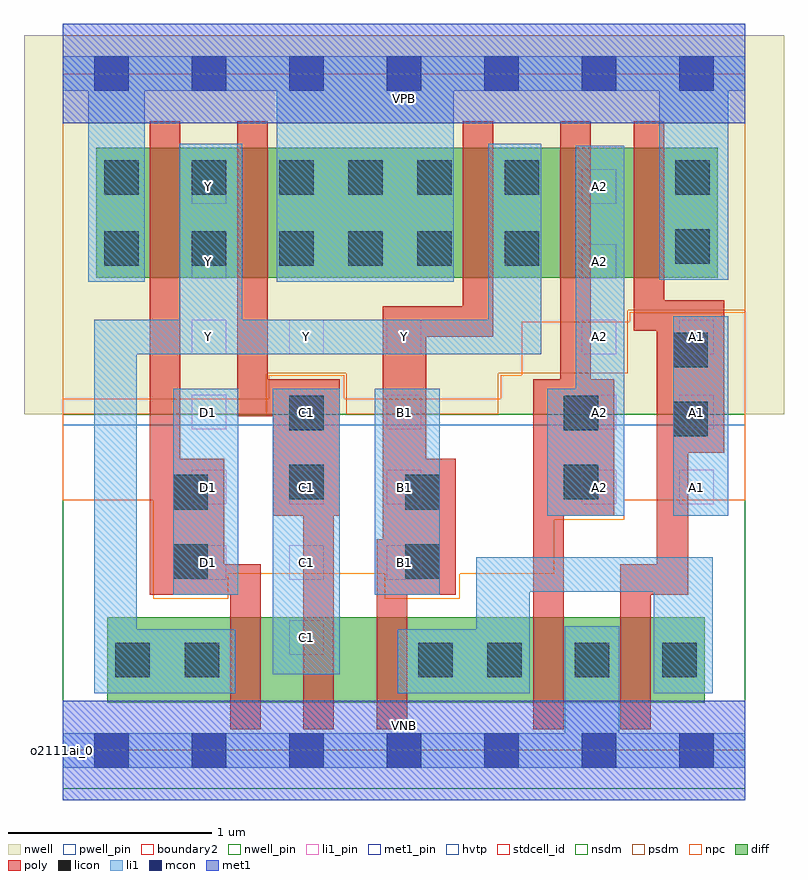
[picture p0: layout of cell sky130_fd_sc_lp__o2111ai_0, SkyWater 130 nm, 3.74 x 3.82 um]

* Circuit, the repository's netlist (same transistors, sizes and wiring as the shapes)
* Copyright 2020 The SkyWater PDK Authors
*
* Licensed under the Apache License, Version 2.0 (the "License");
* you may not use this file except in compliance with the License.
* You may obtain a copy of the License at
*
*     https://www.apache.org/licenses/LICENSE-2.0
*
* Unless required by applicable law or agreed to in writing, software
* distributed under the License is distributed on an "AS IS" BASIS,
* WITHOUT WARRANTIES OR CONDITIONS OF ANY KIND, either express or implied.
* See the License for the specific language governing permissions and
* limitations under the License.
*
* SPDX-License-Identifier: Apache-2.0

.SUBCKT sky130_fd_sc_lp__o2111ai_0 A1 A2 B1 C1 D1 VGND VNB VPB VPWR Y
*.PININFO A1:I A2:I B1:I C1:I D1:I VGND:I VNB:I VPB:I VPWR:I Y:O
MMPA0 VPWR A1 sndA1 VPB sky130_fd_pr__pfet_01v8_hvt m=1 w=0.64U l=0.15U mult=1
+ sa=0.265 sb=0.265 sd=0.28 area=0.063 perim=1.14
MMPA1 sndA1 A2 Y VPB sky130_fd_pr__pfet_01v8_hvt m=1 w=0.64U l=0.15U mult=1 sa=0.265
+ sb=0.265 sd=0.28 area=0.063 perim=1.14
MMPB0 VPWR B1 Y VPB sky130_fd_pr__pfet_01v8_hvt m=1 w=0.64U l=0.15U mult=1 sa=0.265
+ sb=0.265 sd=0.28 area=0.063 perim=1.14
MMPC0 VPWR C1 Y VPB sky130_fd_pr__pfet_01v8_hvt m=1 w=0.64U l=0.15U mult=1 sa=0.265
+ sb=0.265 sd=0.28 area=0.063 perim=1.14
MMPD0 VPWR D1 Y VPB sky130_fd_pr__pfet_01v8_hvt m=1 w=0.64U l=0.15U mult=1 sa=0.265
+ sb=0.265 sd=0.28 area=0.063 perim=1.14
MMNA0 pndA A1 VGND VNB sky130_fd_pr__nfet_01v8 m=1 w=0.42U l=0.15U mult=1 sa=0.265
+ sb=0.265 sd=0.28 area=0.063 perim=1.14
MMNA1 pndA A2 VGND VNB sky130_fd_pr__nfet_01v8 m=1 w=0.42U l=0.15U mult=1 sa=0.265
+ sb=0.265 sd=0.28 area=0.063 perim=1.14
MMNB0 pndB B1 pndA VNB sky130_fd_pr__nfet_01v8 m=1 w=0.42U l=0.15U mult=1 sa=0.265
+ sb=0.265 sd=0.28 area=0.063 perim=1.14
MMNC0 pndC C1 pndB VNB sky130_fd_pr__nfet_01v8 m=1 w=0.42U l=0.15U mult=1 sa=0.265
+ sb=0.265 sd=0.28 area=0.063 perim=1.14
MMND0 Y D1 pndC VNB sky130_fd_pr__nfet_01v8 m=1 w=0.42U l=0.15U mult=1 sa=0.265
+ sb=0.265 sd=0.28 area=0.063 perim=1.14
.ENDS sky130_fd_sc_lp__o2111ai_0

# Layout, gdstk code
import gdstk
lib = gdstk.Library(unit=1e-6, precision=1e-09)
def R(c, l, rs):  # rectangles x0, y0, x1, y1
    for r in rs: c.add(gdstk.rectangle(r[:2], r[2:], *l))
def A(c, l, x, y, w, h, nx, ny, dx, dy):  # array of equal rectangles
    R(c, l, [(x+i*dx, y+j*dy, x+i*dx+w, y+j*dy+h) for i in range(nx) for j in range(ny)])
def P(c, l, *ps):  # polygons
    for p in ps: c.add(gdstk.Polygon(p, *l))
nwell_pin = (64, 16)
nwell = (64, 20)
diff = (65, 20)
poly = (66, 20)
licon = (66, 44)
li1_pin = (67, 16)
li1 = (67, 20)
mcon = (67, 44)
met1_pin = (68, 16)
met1 = (68, 20)
hvtp = (78, 44)
stdcell_id = (81, 4)
nsdm = (93, 44)
psdm = (94, 20)
npc = (95, 20)
pwell_pin = (122, 16)
boundary2 = (236, 0)

sky130_fd_sc_lp__o2111ai = lib.new_cell('sky130_fd_sc_lp__o2111ai_0')
R(sky130_fd_sc_lp__o2111ai, nwell_pin, [(0,3.085,3.36,3.33)])
R(sky130_fd_sc_lp__o2111ai, nwell, [(-0.19,1.655,3.55,3.52)])
R(sky130_fd_sc_lp__o2111ai, diff, [(0.22,0.235,3.16,0.655), (0.165,2.325,3.225,2.965)])
P(sky130_fd_sc_lp__o2111ai, poly, [(0.975,0.915),(0.795,0.915),(0.795,1.435),(0.58,1.435),(0.58,3.095),(0.43,3.095),(0.43,0.765),(0.825,0.765),(0.825,0.105),(0.975,0.105)],
  [(1.365,1.825),(1.01,1.825),(1.01,3.095),(0.86,3.095),(0.86,1.645),(1.035,1.645),(1.035,1.155),(1.185,1.155),(1.185,0.105),(1.335,0.105),(1.335,1.155),(1.365,1.155)],
  [(2.715,1.825),(2.6,1.825),(2.6,3.095),(2.45,3.095),(2.45,1.825),(2.315,1.825),(2.315,0.105),(2.465,0.105),(2.465,1.155),(2.715,1.155)],
  [(3.255,2.215),(2.96,2.215),(2.96,3.095),(2.81,3.095),(2.81,2.065),(2.925,2.065),(2.925,0.915),(2.745,0.915),(2.745,0.105),(2.895,0.105),(2.895,0.765),(3.08,0.765),(3.08,1.465),(3.255,1.465)],
  [(2.12,3.095),(1.97,3.095),(1.97,2.185),(1.575,2.185),(1.575,1.04),(1.545,1.04),(1.545,0.105),(1.695,0.105),(1.695,0.765),(1.935,0.765),(1.935,1.435),(1.79,1.435),(1.79,2.035),(2.12,2.035)])
A(sky130_fd_sc_lp__o2111ai, licon, 2.09, 0.36, 0.17, 0.17, 3, 1, 0.43, 0)
A(sky130_fd_sc_lp__o2111ai, licon, 0.205, 2.385, 0.17, 0.17, 3, 2, 0.43, 0.35)
R(sky130_fd_sc_lp__o2111ai, licon, [(0.26,0.36,0.43,0.53), (0.6,0.36,0.77,0.53), (1.75,0.36,1.92,0.53), (0.545,0.845,0.715,1.015), (1.685,0.845,1.855,1.015), (0.545,1.185,0.715,1.355), (1.685,1.185,1.855,1.355), (1.115,1.235,1.285,1.405), (2.465,1.235,2.635,1.405), (3.005,1.545,3.175,1.715), (1.115,1.575,1.285,1.745), (2.465,1.575,2.635,1.745), (3.005,1.885,3.175,2.055), (1.405,2.385,1.575,2.555), (1.745,2.385,1.915,2.555), (2.175,2.385,2.345,2.555), (3.015,2.395,3.185,2.565), (1.405,2.735,1.575,2.905), (1.745,2.735,1.915,2.905), (2.175,2.735,2.345,2.905), (3.015,2.735,3.185,2.905)])
A(sky130_fd_sc_lp__o2111ai, li1_pin, 0.635, 0.84, 0.17, 0.17, 3, 4, 0.48, 0.37)
A(sky130_fd_sc_lp__o2111ai, li1_pin, 2.555, 1.21, 0.17, 0.17, 1, 5, 0, 0.37)
A(sky130_fd_sc_lp__o2111ai, li1_pin, 3.035, 1.21, 0.17, 0.17, 1, 3, 0, 0.37)
R(sky130_fd_sc_lp__o2111ai, li1_pin, [(1.115,0.47,1.285,0.64), (0.635,2.32,0.805,2.49), (0.635,2.69,0.805,2.86)])
R(sky130_fd_sc_lp__o2111ai, li1, [(1.035,0.375,1.365,1.78), (0.545,0.765,0.865,1.78), (1.535,0.765,1.855,1.78), (3.005,1.155,3.275,2.135)])
P(sky130_fd_sc_lp__o2111ai, li1, [(2.765,2.975),(2.525,2.975),(2.525,1.78),(2.385,1.78),(2.385,1.155),(2.765,1.155)],
  [(3.36,0.085),(2.74,0.085),(2.74,0.61),(2.47,0.61),(2.47,0.085),(0,0.085),(0,-0.085),(3.36,-0.085)],
  [(3.36,3.415),(0,3.415),(0,3.245),(0.125,3.245),(0.125,2.305),(0.405,2.305),(0.405,3.245),(1.055,3.245),(1.055,2.305),(1.925,2.305),(1.925,3.245),(2.935,3.245),(2.935,2.315),(3.275,2.315),(3.275,3.245),(3.36,3.245)],
  [(2.355,2.985),(2.095,2.985),(2.095,2.12),(0.885,2.12),(0.885,2.985),(0.575,2.985),(0.575,2.12),(0.155,2.12),(0.155,0.28),(0.85,0.28),(0.85,0.595),(0.365,0.595),(0.365,1.95),(2.355,1.95)],
  [(3.2,0.95),(2.035,0.95),(2.035,0.595),(1.65,0.595),(1.65,0.28),(2.3,0.28),(2.3,0.78),(2.91,0.78),(2.91,0.28),(3.2,0.28)])
A(sky130_fd_sc_lp__o2111ai, mcon, 0.155, -0.085, 0.17, 0.17, 7, 2, 0.48, 3.33)
R(sky130_fd_sc_lp__o2111ai, met1_pin, [(0,0,3.36,0.245), (0,3.085,3.36,3.33)])
R(sky130_fd_sc_lp__o2111ai, met1, [(0,-0.245,3.36,0.245), (0,3.085,3.36,3.575)])
R(sky130_fd_sc_lp__o2111ai, hvtp, [(0,1.6,3.36,3.33)])
R(sky130_fd_sc_lp__o2111ai, stdcell_id, [(0,0,3.36,3.33)])
R(sky130_fd_sc_lp__o2111ai, nsdm, [(0,-0.19,3.36,1.655)])
P(sky130_fd_sc_lp__o2111ai, psdm, [(3.36,3.52),(0,3.52),(0,1.655),(1.005,1.655),(1.005,1.855),(1.395,1.855),(1.395,1.655),(2.145,1.655),(2.145,1.855),(2.78,1.855),(2.78,2.165),(3.36,2.165)])
P(sky130_fd_sc_lp__o2111ai, npc, [(3.36,2.155),(2.79,2.155),(2.79,2.11),(2.26,2.11),(2.26,1.845),(2.155,1.845),(2.155,1.73),(1.385,1.73),(1.385,1.845),(1.015,1.845),(1.015,1.73),(0,1.73),(0,1.23),(0.445,1.23),(0.445,0.745),(0.815,0.745),(0.815,0.87),(1.585,0.87),(1.585,0.745),(1.955,0.745),(1.955,0.87),(2.42,0.87),(2.42,1.135),(2.765,1.135),(2.765,1.23),(3.36,1.23)])
R(sky130_fd_sc_lp__o2111ai, pwell_pin, [(0,0,3.36,0.245)])
R(sky130_fd_sc_lp__o2111ai, boundary2, [(0,0,3.36,3.33)])
sky130_fd_sc_lp__o2111ai.add(gdstk.Label('VNB', (1.68,0.123), layer=64, texttype=59))
sky130_fd_sc_lp__o2111ai.add(gdstk.Label('VPB', (1.68,3.208), layer=64, texttype=5))
sky130_fd_sc_lp__o2111ai.add(gdstk.Label('o2111ai_0', (0,0), layer=83, texttype=44))
sky130_fd_sc_lp__o2111ai.add(gdstk.Label('VPWR', (1.68,3.208), layer=68, texttype=5))
sky130_fd_sc_lp__o2111ai.add(gdstk.Label('VGND', (1.68,0.123), layer=68, texttype=5))
sky130_fd_sc_lp__o2111ai.add(gdstk.Label('A1', (3.12,1.295), layer=67, texttype=5))
sky130_fd_sc_lp__o2111ai.add(gdstk.Label('A1', (3.12,1.665), layer=67, texttype=5))
sky130_fd_sc_lp__o2111ai.add(gdstk.Label('A1', (3.12,2.035), layer=67, texttype=5))
sky130_fd_sc_lp__o2111ai.add(gdstk.Label('A2', (2.64,1.295), layer=67, texttype=5))
sky130_fd_sc_lp__o2111ai.add(gdstk.Label('A2', (2.64,1.665), layer=67, texttype=5))
sky130_fd_sc_lp__o2111ai.add(gdstk.Label('A2', (2.64,2.035), layer=67, texttype=5))
sky130_fd_sc_lp__o2111ai.add(gdstk.Label('A2', (2.64,2.405), layer=67, texttype=5))
sky130_fd_sc_lp__o2111ai.add(gdstk.Label('A2', (2.64,2.775), layer=67, texttype=5))
sky130_fd_sc_lp__o2111ai.add(gdstk.Label('B1', (1.68,0.925), layer=67, texttype=5))
sky130_fd_sc_lp__o2111ai.add(gdstk.Label('B1', (1.68,1.295), layer=67, texttype=5))
sky130_fd_sc_lp__o2111ai.add(gdstk.Label('B1', (1.68,1.665), layer=67, texttype=5))
sky130_fd_sc_lp__o2111ai.add(gdstk.Label('C1', (1.2,0.555), layer=67, texttype=5))
sky130_fd_sc_lp__o2111ai.add(gdstk.Label('C1', (1.2,0.925), layer=67, texttype=5))
sky130_fd_sc_lp__o2111ai.add(gdstk.Label('C1', (1.2,1.295), layer=67, texttype=5))
sky130_fd_sc_lp__o2111ai.add(gdstk.Label('C1', (1.2,1.665), layer=67, texttype=5))
sky130_fd_sc_lp__o2111ai.add(gdstk.Label('D1', (0.72,0.925), layer=67, texttype=5))
sky130_fd_sc_lp__o2111ai.add(gdstk.Label('D1', (0.72,1.295), layer=67, texttype=5))
sky130_fd_sc_lp__o2111ai.add(gdstk.Label('D1', (0.72,1.665), layer=67, texttype=5))
sky130_fd_sc_lp__o2111ai.add(gdstk.Label('Y', (0.72,2.035), layer=67, texttype=5))
sky130_fd_sc_lp__o2111ai.add(gdstk.Label('Y', (1.2,2.035), layer=67, texttype=5))
sky130_fd_sc_lp__o2111ai.add(gdstk.Label('Y', (1.68,2.035), layer=67, texttype=5))
sky130_fd_sc_lp__o2111ai.add(gdstk.Label('Y', (0.72,2.775), layer=67, texttype=5))
sky130_fd_sc_lp__o2111ai.add(gdstk.Label('Y', (0.72,2.405), layer=67, texttype=5))

lib.write_gds('sky130_fd_sc_lp__o2111ai_0.gds')
